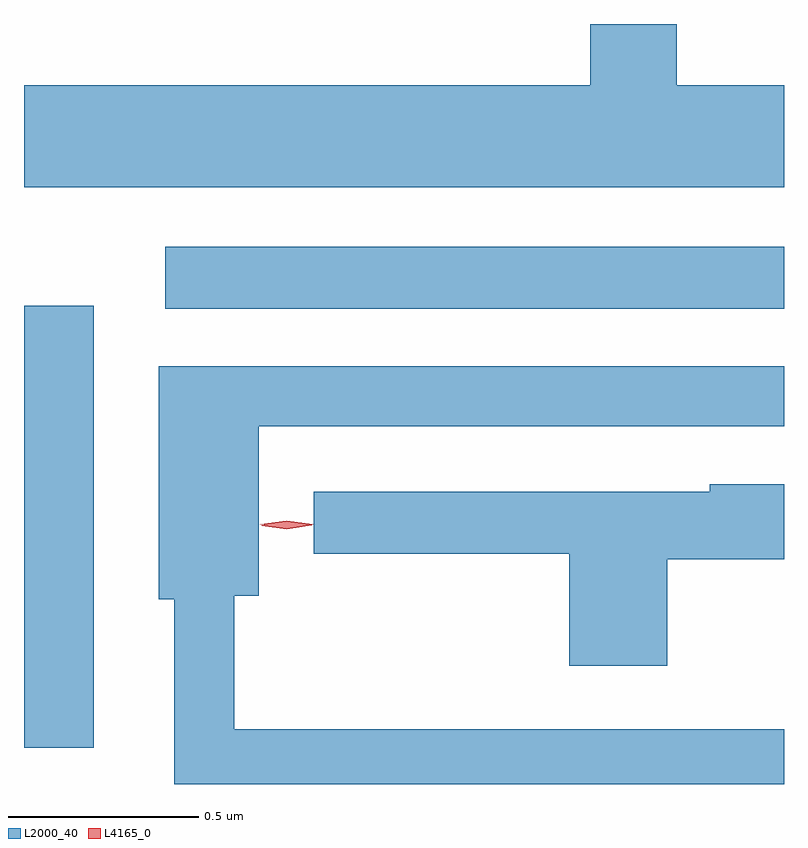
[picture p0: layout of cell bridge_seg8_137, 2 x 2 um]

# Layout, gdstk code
import gdstk
lib = gdstk.Library(unit=1e-6, precision=1e-09)
def R(c, l, rs):  # rectangles x0, y0, x1, y1
    for r in rs: c.add(gdstk.rectangle(r[:2], r[2:], *l))
def P(c, l, *ps):  # polygons
    for p in ps: c.add(gdstk.Polygon(p, *l))
L2000_40 = (2000, 40)
L4165_0 = (4165, 0)

bridge_seg8_137 = lib.new_cell('bridge_seg8_137')
R(bridge_seg8_137, L2000_40, [(1776.341,1848.261,1776.524,1849.424), (1776.713,1849.416,1778.341,1849.579)])
P(bridge_seg8_137, L2000_40, [(1778.341,1850.004),(1778.059,1850.004),(1778.059,1850.165),(1777.831,1850.165),(1777.831,1850.004),(1776.341,1850.004),(1776.341,1849.736),(1778.341,1849.736)],
  [(1778.341,1848.309),(1776.894,1848.309),(1776.894,1848.661),(1776.959,1848.661),(1776.959,1849.106),(1778.341,1849.106),(1778.341,1849.264),(1776.696,1849.264),(1776.696,1848.651),(1776.736,1848.651),(1776.736,1848.165),(1778.341,1848.165)],
  [(1778.034,1848.756),(1778.341,1848.756),(1778.341,1848.954),(1778.146,1848.954),(1778.146,1848.934),(1777.103,1848.934),(1777.103,1848.771),(1777.776,1848.771),(1777.776,1848.476),(1778.034,1848.476)])
P(bridge_seg8_137, L4165_0, [(1777.032,1848.836),(1776.966,1848.845),(1776.966,1848.846),(1776.966,1848.846),(1777.032,1848.856),(1777.098,1848.847),(1777.098,1848.846),(1777.098,1848.846)],
  [(1777.032,1848.839),(1776.963,1848.848),(1776.963,1848.848),(1776.963,1848.849),(1777.032,1848.858),(1777.101,1848.849),(1777.102,1848.849),(1777.101,1848.848)])

lib.write_gds('bridge_seg8_137.gds')
